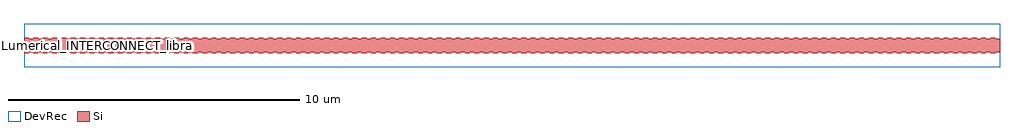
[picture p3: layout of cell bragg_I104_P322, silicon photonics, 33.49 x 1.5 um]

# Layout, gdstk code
import gdstk
lib = gdstk.Library(unit=1e-6, precision=1e-09)
def R(c, l, rs):  # rectangles x0, y0, x1, y1
    for r in rs: c.add(gdstk.rectangle(r[:2], r[2:], *l))
def A(c, l, x, y, w, h, nx, ny, dx, dy):  # array of equal rectangles
    R(c, l, [(x+i*dx, y+j*dy, x+i*dx+w, y+j*dy+h) for i in range(nx) for j in range(ny)])
Si = (1, 0)
DevRec = (68, 0)

bragg_i104_p322 = lib.new_cell('bragg_I104_P322')
A(bragg_i104_p322, Si, 0, -0.26, 0.161, 0.26, 104, 2, 0.322, 0.26)
A(bragg_i104_p322, Si, 0.161, -0.24, 0.161, 0.24, 104, 2, 0.322, 0.24)
R(bragg_i104_p322, DevRec, [(0,-0.75,33.488,0.75)])
bragg_i104_p322.add(gdstk.Label('Lumerical_INTERCONNECT_library=Design kits/ebeam', (0,0), layer=68, texttype=0))
bragg_i104_p322.add(gdstk.Label('Component=ebeam_bragg_te1550', (3.348,0), layer=68, texttype=0))
bragg_i104_p322.add(gdstk.Label('Spice_param:number_of_periods=104 grating_period=3.22e-07 corrugation_width=2e-08 misalignment=0 sinusoidal=0', (3.72,0), layer=68, texttype=0))

lib.write_gds('bragg_I104_P322.gds')
